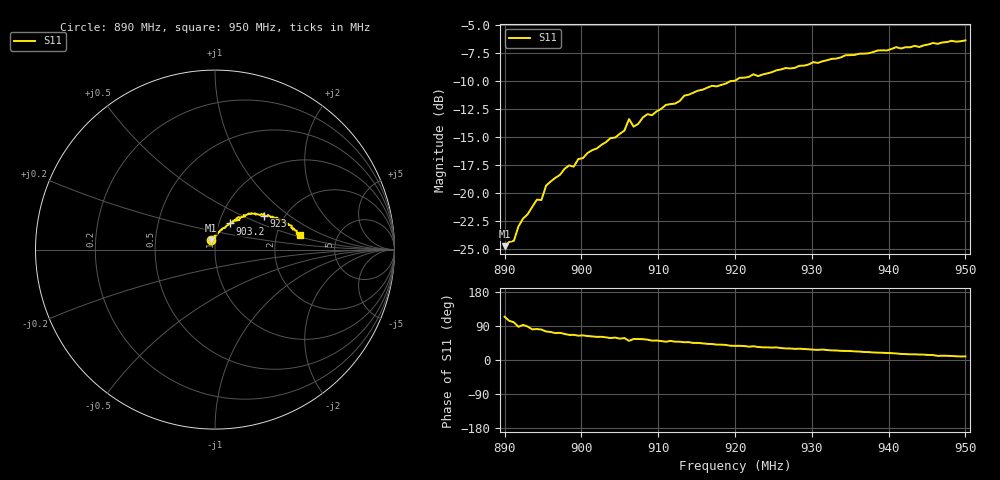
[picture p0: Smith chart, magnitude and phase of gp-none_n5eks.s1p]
# HZ S RI R 50
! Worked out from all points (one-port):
!   101 points, 890 MHz to 950 MHz, reference 50 ohm
!   lowest |S11| = -24.8 dB at 890 MHz (marker M1), VSWR 1.12, Z = 47.4 + j5.02 ohm
!   |S11| at or under -10 dB: start of sweep to 919.6 MHz
!   S11 on the Smith chart (normalised r, x): 890 MHz: 0.95, +0.10; 903.2 MHz: 1.13, +0.34; 923 MHz: 1.58, +0.67; 950 MHz: 2.71, +0.56
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8.9e8  -0.0237 0.0528
8.912e8  -0.0101 0.0602
8.918e8  0.00294 0.0708
8.924e8  -0.00347 0.0768
8.942e8  0.0135 0.0924
8.948e8  0.0157 0.0918
8.954e8  0.0277 0.1043
8.978e8  0.0463 0.1194
8.99e8  0.0525 0.12
8.996e8  0.0617 0.1276
9.032e8  0.0849 0.1457
9.05e8  0.102 0.1528
9.056e8  0.1008 0.161
9.062e8  0.1359 0.1649
9.068e8  0.112 0.1629
9.086e8  0.1329 0.1814
9.092e8  0.1398 0.1731
9.11e8  0.1647 0.1845
9.128e8  0.1712 0.1922
9.134e8  0.186 0.1985
9.2e8  0.2519 0.1926
9.224e8  0.2731 0.2008
9.23e8  0.2745 0.1872
9.254e8  0.2952 0.1933
9.278e8  0.3154 0.1776
9.35e8  0.3778 0.1656
9.428e8  0.432 0.1158
9.5e8  0.4731 0.0794
